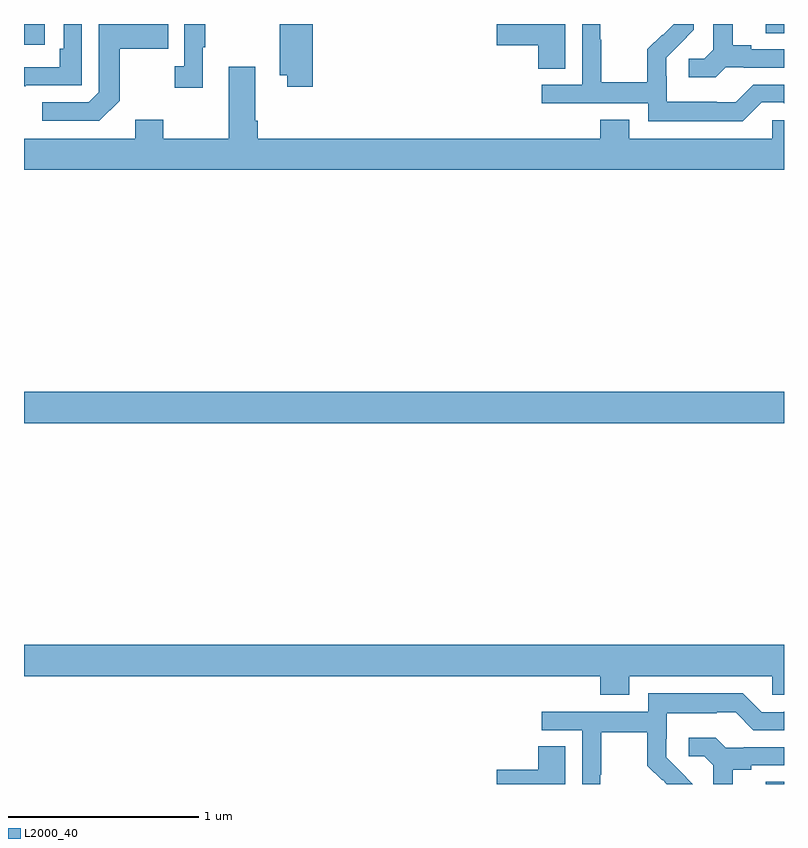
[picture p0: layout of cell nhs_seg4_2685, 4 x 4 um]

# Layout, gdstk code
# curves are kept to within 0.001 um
import gdstk
lib = gdstk.Library(unit=1e-6, precision=1e-09)
def R(c, l, rs):  # rectangles x0, y0, x1, y1
    for r in rs: c.add(gdstk.rectangle(r[:2], r[2:], *l))
def P(c, l, *ps):  # polygons
    for p in ps: c.add(gdstk.Polygon(p, *l))
L2000_40 = (2000, 40)

nhs_seg4_2685 = lib.new_cell('nhs_seg4_2685')
R(nhs_seg4_2685, L2000_40, [(254.903,814.9,255,814.913), (251,816.8,255,816.964), (251,818.79,251.11,818.9), (254.903,818.851,255,818.9)])
P(nhs_seg4_2685, L2000_40, [(254.694,818.673),(254.788,818.673),(254.788,818.67),(255,818.67),(255,818.766),(254.827,818.766),(254.827,818.789),(254.731,818.789),(254.731,818.9),(254.627,818.9),(254.627,818.765),(254.58,818.718),(254.499,818.718),(254.499,818.621),(254.642,818.621)],
  [(254.883,818.487),(254.999,818.487),(255,818.484),(255,818.58),(254.838,818.58),(254.745,818.487),(254.645,818.487),(254.645,818.491),(254.382,818.491),(254.382,818.625),(254.38,818.625),(254.38,818.722),(254.526,818.87),(254.526,818.9),(254.42,818.9),(254.361,818.841),(254.358,818.844),(254.281,818.767),(254.281,818.593),(254.037,818.593),(254.037,818.816),(254.034,818.816),(254.034,818.9),(253.938,818.9),(253.938,818.58),(253.725,818.58),(253.725,818.484),(254.286,818.484),(254.286,818.387),(254.783,818.387)],
  [(251.941,818.777),(251.953,818.777),(251.953,818.9),(251.844,818.9),(251.844,818.678),(251.793,818.678),(251.793,818.565),(251.941,818.565)],
  [(251.009,818.577),(251.304,818.577),(251.304,818.9),(251.208,818.9),(251.208,818.77),(251.188,818.77),(251.188,818.673),(251,818.673),(251,818.572),(251.009,818.572)],
  [(252.521,818.9),(252.346,818.9),(252.346,818.63),(252.386,818.63),(252.386,818.571),(252.521,818.571)],
  [(253.849,818.9),(253.488,818.9),(253.488,818.789),(253.706,818.789),(253.706,818.665),(253.849,818.665)],
  [(251.503,818.497),(251.503,818.77),(251.759,818.77),(251.759,818.9),(251.394,818.9),(251.394,818.541),(251.34,818.487),(251.097,818.487),(251.097,818.391),(251.397,818.391)],
  [(255,818.394),(254.937,818.394),(254.937,818.296),(254.185,818.296),(254.185,818.395),(254.033,818.395),(254.033,818.296),(252.23,818.296),(252.23,818.392),(252.217,818.392),(252.217,818.674),(252.077,818.674),(252.077,818.296),(251.733,818.296),(251.733,818.395),(251.585,818.395),(251.585,818.296),(251,818.296),(251,818.132),(255,818.132)],
  [(254.185,815.468),(254.937,815.468),(254.937,815.37),(255,815.37),(255,815.632),(251,815.632),(251,815.468),(254.033,815.468),(254.033,815.369),(254.185,815.369)],
  [(254.034,814.948),(254.037,814.948),(254.037,815.172),(254.281,815.172),(254.281,814.997),(254.358,814.92),(254.361,814.923),(254.384,814.9),(254.52,814.9),(254.38,815.042),(254.38,815.139),(254.382,815.139),(254.382,815.273),(254.645,815.273),(254.645,815.277),(254.745,815.277),(254.838,815.184),(255,815.184),(255,815.28),(254.999,815.277),(254.883,815.277),(254.783,815.377),(254.286,815.377),(254.286,815.28),(253.725,815.28),(253.725,815.184),(253.938,815.184),(253.938,814.9),(254.034,814.9)],
  [(254.731,814.976),(254.827,814.976),(254.827,814.998),(255,814.998),(255,815.094),(254.788,815.094),(254.788,815.091),(254.694,815.091),(254.642,815.143),(254.499,815.143),(254.499,815.046),(254.58,815.046),(254.627,814.999),(254.627,814.9),(254.731,814.9)],
  [(253.849,815.099),(253.706,815.099),(253.706,814.976),(253.488,814.976),(253.488,814.9),(253.849,814.9)])

lib.write_gds('nhs_seg4_2685.gds')
